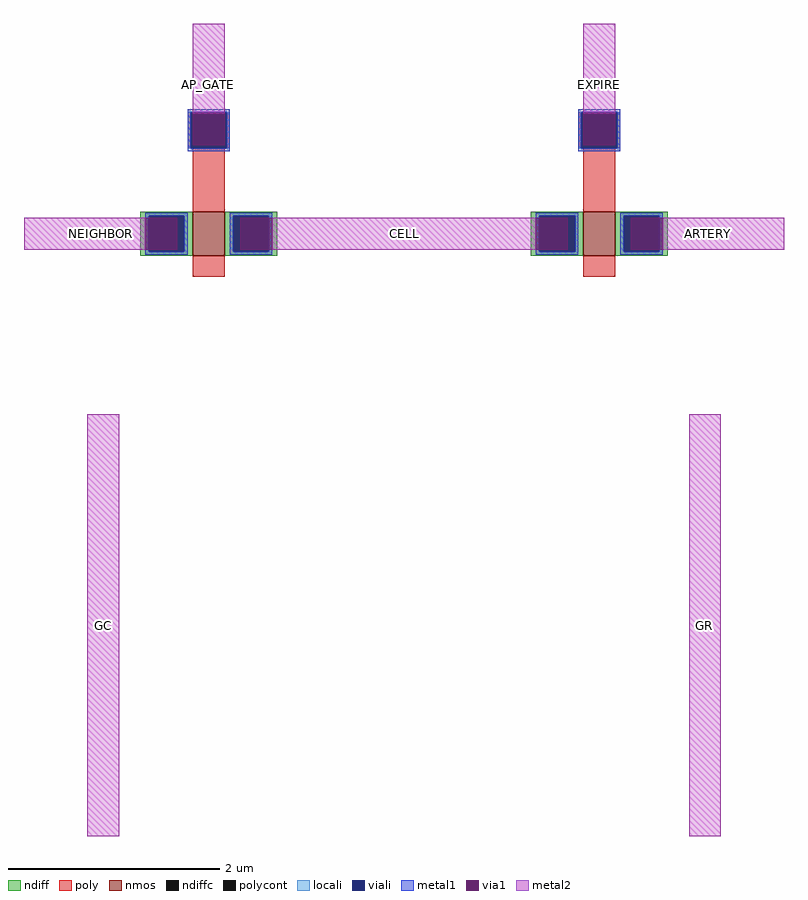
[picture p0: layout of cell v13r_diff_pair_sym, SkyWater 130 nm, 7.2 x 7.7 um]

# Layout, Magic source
magic
tech sky130A
<< via1 >>
rect 180 1555 210 1585
rect 550 1555 580 1585
rect 135 1456 165 1486
rect 225 1456 255 1486
rect 505 1456 535 1486
rect 595 1456 625 1486
<< metal2 >>
rect 180 1585 210 1670
rect 550 1585 580 1670
rect 20 1456 135 1486
rect 255 1456 505 1486
rect 625 1456 740 1486
rect 80 900 110 1300
rect 650 900 680 1300
use nf_cross  nf_cross_0
transform 1 0 130 0 1 1450
box 0 -20 130 139
use nf_cross  nf_cross_1
transform 1 0 500 0 1 1450
box 0 -20 130 139
<< labels >>
rlabel metal2 20 1456 165 1486 0 NEIGHBOR
rlabel metal2 225 1456 535 1486 0 CELL
rlabel metal2 180 1555 210 1670 0 AP_GATE
rlabel metal2 595 1456 740 1486 0 ARTERY
rlabel metal2 550 1555 580 1670 0 EXPIRE
rlabel metal2 80 900 110 1300 0 GC
rlabel metal2 650 900 680 1300 0 GR
<< end >>

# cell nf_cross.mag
magic
tech sky130A
<< nmos >>
rect 50 0 80 42
<< ndiff >>
rect 0 38 50 42
rect 0 4 8 38
rect 42 4 50 38
rect 0 0 50 4
rect 80 38 130 42
rect 80 4 88 38
rect 122 4 130 38
rect 80 0 130 4
<< ndiffc >>
rect 8 4 42 38
rect 88 4 122 38
<< poly >>
rect 45 102 48 136
rect 82 102 85 136
rect 50 42 80 102
rect 50 -20 80 0
<< polycont >>
rect 48 102 82 136
<< locali >>
rect 45 102 48 136
rect 82 102 85 136
<< viali >>
rect 48 102 82 136
rect 8 4 42 38
rect 88 4 122 38
<< metal1 >>
rect 45 136 85 139
rect 45 102 48 136
rect 82 102 85 136
rect 45 99 85 102
rect 5 38 45 41
rect 5 4 8 38
rect 42 4 45 38
rect 5 1 45 4
rect 85 38 125 41
rect 85 4 88 38
rect 122 4 125 38
rect 85 1 125 4
<< labels >>
flabel metal1 s 5 1 45 41 0 FreeSans 200 0 0 0 SOURCE
port 1 nsew
flabel metal1 s 85 1 125 41 0 FreeSans 200 0 0 0 DRAIN
port 2 nsew
flabel metal1 s 45 99 85 139 0 FreeSans 200 0 0 0 GATE
port 3 nsew
<< end >>
